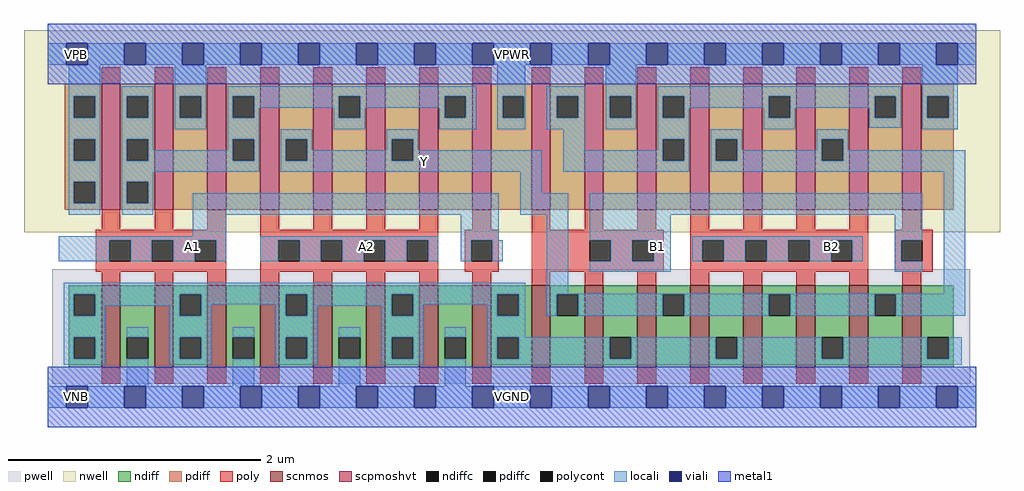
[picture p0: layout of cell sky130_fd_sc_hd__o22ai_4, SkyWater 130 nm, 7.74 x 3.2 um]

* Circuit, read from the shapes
.subckt sky130_fd_sc_hd__o22ai_4 A1 A2 B1 B2 VGND VNB VPB VPWR Y
XM1 VGND A1 n1 VNB sky130_fd_pr__nfet_01v8 w=0.65 l=0.15 m=4
XM2 n1 A2 VGND VNB sky130_fd_pr__nfet_01v8 w=0.65 l=0.15 m=4
XM3 Y B1 n1 VNB sky130_fd_pr__nfet_01v8 w=0.65 l=0.15 m=4
XM4 n1 B2 Y VNB sky130_fd_pr__nfet_01v8 w=0.65 l=0.15 m=4
XM5 n2 A1 VPWR VPB sky130_fd_pr__pfet_01v8_hvt w=1 l=0.15 m=4
XM6 Y A2 n2 VPB sky130_fd_pr__pfet_01v8_hvt w=1 l=0.15 m=4
XM7 n3 B1 VPWR VPB sky130_fd_pr__pfet_01v8_hvt w=1 l=0.15 m=4
XM8 Y B2 n3 VPB sky130_fd_pr__pfet_01v8_hvt w=1 l=0.15 m=4
.ends

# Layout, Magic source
magic
tech sky130A
magscale 1 2
<< nwell >>
rect -38 261 1510 582
<< pwell >>
rect 7 21 1463 203
rect 29 -17 63 21
<< scnmos >>
rect 85 47 115 177
rect 169 47 199 177
rect 253 47 283 177
rect 337 47 367 177
rect 421 47 451 177
rect 505 47 535 177
rect 589 47 619 177
rect 673 47 703 177
rect 767 47 797 177
rect 851 47 881 177
rect 935 47 965 177
rect 1019 47 1049 177
rect 1103 47 1133 177
rect 1187 47 1217 177
rect 1271 47 1301 177
rect 1355 47 1385 177
<< scpmoshvt >>
rect 85 297 115 497
rect 169 297 199 497
rect 253 297 283 497
rect 337 297 367 497
rect 421 297 451 497
rect 505 297 535 497
rect 589 297 619 497
rect 673 297 703 497
rect 767 297 797 497
rect 851 297 881 497
rect 935 297 965 497
rect 1019 297 1049 497
rect 1103 297 1133 497
rect 1187 297 1217 497
rect 1271 297 1301 497
rect 1355 297 1385 497
<< ndiff >>
rect 33 163 85 177
rect 33 129 41 163
rect 75 129 85 163
rect 33 95 85 129
rect 33 61 41 95
rect 75 61 85 95
rect 33 47 85 61
rect 115 95 169 177
rect 115 61 125 95
rect 159 61 169 95
rect 115 47 169 61
rect 199 163 253 177
rect 199 129 209 163
rect 243 129 253 163
rect 199 95 253 129
rect 199 61 209 95
rect 243 61 253 95
rect 199 47 253 61
rect 283 95 337 177
rect 283 61 293 95
rect 327 61 337 95
rect 283 47 337 61
rect 367 163 421 177
rect 367 129 377 163
rect 411 129 421 163
rect 367 95 421 129
rect 367 61 377 95
rect 411 61 421 95
rect 367 47 421 61
rect 451 95 505 177
rect 451 61 461 95
rect 495 61 505 95
rect 451 47 505 61
rect 535 163 589 177
rect 535 129 545 163
rect 579 129 589 163
rect 535 95 589 129
rect 535 61 545 95
rect 579 61 589 95
rect 535 47 589 61
rect 619 95 673 177
rect 619 61 629 95
rect 663 61 673 95
rect 619 47 673 61
rect 703 163 767 177
rect 703 129 713 163
rect 747 129 767 163
rect 703 95 767 129
rect 703 61 713 95
rect 747 61 767 95
rect 703 47 767 61
rect 797 163 851 177
rect 797 129 807 163
rect 841 129 851 163
rect 797 47 851 129
rect 881 95 935 177
rect 881 61 891 95
rect 925 61 935 95
rect 881 47 935 61
rect 965 163 1019 177
rect 965 129 975 163
rect 1009 129 1019 163
rect 965 47 1019 129
rect 1049 95 1103 177
rect 1049 61 1059 95
rect 1093 61 1103 95
rect 1049 47 1103 61
rect 1133 163 1187 177
rect 1133 129 1143 163
rect 1177 129 1187 163
rect 1133 47 1187 129
rect 1217 95 1271 177
rect 1217 61 1227 95
rect 1261 61 1271 95
rect 1217 47 1271 61
rect 1301 163 1355 177
rect 1301 129 1311 163
rect 1345 129 1355 163
rect 1301 47 1355 129
rect 1385 95 1437 177
rect 1385 61 1395 95
rect 1429 61 1437 95
rect 1385 47 1437 61
<< pdiff >>
rect 27 477 85 497
rect 27 443 41 477
rect 75 443 85 477
rect 27 409 85 443
rect 27 375 41 409
rect 75 375 85 409
rect 27 341 85 375
rect 27 307 41 341
rect 75 307 85 341
rect 27 297 85 307
rect 115 477 169 497
rect 115 443 125 477
rect 159 443 169 477
rect 115 409 169 443
rect 115 375 125 409
rect 159 375 169 409
rect 115 341 169 375
rect 115 307 125 341
rect 159 307 169 341
rect 115 297 169 307
rect 199 477 253 497
rect 199 443 209 477
rect 243 443 253 477
rect 199 297 253 443
rect 283 477 337 497
rect 283 443 293 477
rect 327 443 337 477
rect 283 409 337 443
rect 283 375 293 409
rect 327 375 337 409
rect 283 297 337 375
rect 367 409 421 497
rect 367 375 377 409
rect 411 375 421 409
rect 367 297 421 375
rect 451 477 505 497
rect 451 443 461 477
rect 495 443 505 477
rect 451 297 505 443
rect 535 409 589 497
rect 535 375 545 409
rect 579 375 589 409
rect 535 297 589 375
rect 619 477 673 497
rect 619 443 629 477
rect 663 443 673 477
rect 619 297 673 443
rect 703 477 767 497
rect 703 443 721 477
rect 755 443 767 477
rect 703 297 767 443
rect 797 477 851 497
rect 797 443 807 477
rect 841 443 851 477
rect 797 297 851 443
rect 881 477 935 497
rect 881 443 891 477
rect 925 443 935 477
rect 881 297 935 443
rect 965 477 1019 497
rect 965 443 975 477
rect 1009 443 1019 477
rect 965 409 1019 443
rect 965 375 975 409
rect 1009 375 1019 409
rect 965 297 1019 375
rect 1049 409 1103 497
rect 1049 375 1059 409
rect 1093 375 1103 409
rect 1049 297 1103 375
rect 1133 477 1187 497
rect 1133 443 1143 477
rect 1177 443 1187 477
rect 1133 297 1187 443
rect 1217 409 1271 497
rect 1217 375 1227 409
rect 1261 375 1271 409
rect 1217 297 1271 375
rect 1301 477 1355 497
rect 1301 443 1311 477
rect 1345 443 1355 477
rect 1301 297 1355 443
rect 1385 477 1437 497
rect 1385 443 1395 477
rect 1429 443 1437 477
rect 1385 297 1437 443
<< ndiffc >>
rect 41 129 75 163
rect 41 61 75 95
rect 125 61 159 95
rect 209 129 243 163
rect 209 61 243 95
rect 293 61 327 95
rect 377 129 411 163
rect 377 61 411 95
rect 461 61 495 95
rect 545 129 579 163
rect 545 61 579 95
rect 629 61 663 95
rect 713 129 747 163
rect 713 61 747 95
rect 807 129 841 163
rect 891 61 925 95
rect 975 129 1009 163
rect 1059 61 1093 95
rect 1143 129 1177 163
rect 1227 61 1261 95
rect 1311 129 1345 163
rect 1395 61 1429 95
<< pdiffc >>
rect 41 443 75 477
rect 41 375 75 409
rect 41 307 75 341
rect 125 443 159 477
rect 125 375 159 409
rect 125 307 159 341
rect 209 443 243 477
rect 293 443 327 477
rect 293 375 327 409
rect 377 375 411 409
rect 461 443 495 477
rect 545 375 579 409
rect 629 443 663 477
rect 721 443 755 477
rect 807 443 841 477
rect 891 443 925 477
rect 975 443 1009 477
rect 975 375 1009 409
rect 1059 375 1093 409
rect 1143 443 1177 477
rect 1227 375 1261 409
rect 1311 443 1345 477
rect 1395 443 1429 477
<< poly >>
rect 85 497 115 523
rect 169 497 199 523
rect 253 497 283 523
rect 337 497 367 523
rect 421 497 451 523
rect 505 497 535 523
rect 589 497 619 523
rect 673 497 703 523
rect 767 497 797 523
rect 851 497 881 523
rect 935 497 965 523
rect 1019 497 1049 523
rect 1103 497 1133 523
rect 1187 497 1217 523
rect 1271 497 1301 523
rect 1355 497 1385 523
rect 85 265 115 297
rect 169 265 199 297
rect 253 265 283 297
rect 76 249 283 265
rect 76 215 97 249
rect 131 215 165 249
rect 199 215 233 249
rect 267 215 283 249
rect 76 199 283 215
rect 85 177 115 199
rect 169 177 199 199
rect 253 177 283 199
rect 337 265 367 297
rect 421 265 451 297
rect 505 265 535 297
rect 589 265 619 297
rect 673 265 703 297
rect 767 265 797 297
rect 851 265 881 297
rect 935 265 965 297
rect 1019 265 1049 297
rect 1103 265 1133 297
rect 1187 265 1217 297
rect 1271 265 1301 297
rect 1355 265 1385 297
rect 337 249 619 265
rect 337 215 365 249
rect 399 215 433 249
rect 467 215 501 249
rect 535 215 569 249
rect 603 215 619 249
rect 337 199 619 215
rect 661 249 715 265
rect 661 215 671 249
rect 705 215 715 249
rect 661 199 715 215
rect 767 249 977 265
rect 767 215 859 249
rect 893 215 927 249
rect 961 215 977 249
rect 767 199 977 215
rect 1019 249 1301 265
rect 1019 215 1038 249
rect 1072 215 1106 249
rect 1140 215 1174 249
rect 1208 215 1242 249
rect 1276 215 1301 249
rect 1019 199 1301 215
rect 1343 249 1403 265
rect 1343 215 1353 249
rect 1387 215 1403 249
rect 1343 199 1403 215
rect 337 177 367 199
rect 421 177 451 199
rect 505 177 535 199
rect 589 177 619 199
rect 673 177 703 199
rect 767 177 797 199
rect 851 177 881 199
rect 935 177 965 199
rect 1019 177 1049 199
rect 1103 177 1133 199
rect 1187 177 1217 199
rect 1271 177 1301 199
rect 1355 177 1385 199
rect 85 21 115 47
rect 169 21 199 47
rect 253 21 283 47
rect 337 21 367 47
rect 421 21 451 47
rect 505 21 535 47
rect 589 21 619 47
rect 673 21 703 47
rect 767 21 797 47
rect 851 21 881 47
rect 935 21 965 47
rect 1019 21 1049 47
rect 1103 21 1133 47
rect 1187 21 1217 47
rect 1271 21 1301 47
rect 1355 21 1385 47
<< polycont >>
rect 97 215 131 249
rect 165 215 199 249
rect 233 215 267 249
rect 365 215 399 249
rect 433 215 467 249
rect 501 215 535 249
rect 569 215 603 249
rect 671 215 705 249
rect 859 215 893 249
rect 927 215 961 249
rect 1038 215 1072 249
rect 1106 215 1140 249
rect 1174 215 1208 249
rect 1242 215 1276 249
rect 1353 215 1387 249
<< locali >>
rect 0 527 29 561
rect 63 527 121 561
rect 155 527 213 561
rect 247 527 305 561
rect 339 527 397 561
rect 431 527 489 561
rect 523 527 581 561
rect 615 527 673 561
rect 707 527 765 561
rect 799 527 857 561
rect 891 527 949 561
rect 983 527 1041 561
rect 1075 527 1133 561
rect 1167 527 1225 561
rect 1259 527 1317 561
rect 1351 527 1409 561
rect 1443 527 1472 561
rect 33 477 83 527
rect 33 443 41 477
rect 75 443 83 477
rect 33 409 83 443
rect 33 375 41 409
rect 75 375 83 409
rect 33 341 83 375
rect 33 307 41 341
rect 75 307 83 341
rect 33 289 83 307
rect 117 477 167 493
rect 117 443 125 477
rect 159 443 167 477
rect 117 409 167 443
rect 201 477 251 527
rect 201 443 209 477
rect 243 443 251 477
rect 201 425 251 443
rect 285 477 679 493
rect 285 443 293 477
rect 327 459 461 477
rect 327 443 335 459
rect 117 375 125 409
rect 159 391 167 409
rect 285 409 335 443
rect 453 443 461 459
rect 495 459 629 477
rect 495 443 503 459
rect 453 425 503 443
rect 621 443 629 459
rect 663 443 679 477
rect 621 425 679 443
rect 713 477 757 527
rect 713 443 721 477
rect 755 443 757 477
rect 713 425 757 443
rect 791 477 851 493
rect 791 443 807 477
rect 841 443 851 477
rect 791 425 851 443
rect 885 477 933 527
rect 885 443 891 477
rect 925 443 933 477
rect 885 425 933 443
rect 967 477 1353 493
rect 967 443 975 477
rect 1009 459 1143 477
rect 1009 443 1017 459
rect 285 391 293 409
rect 159 375 293 391
rect 327 375 335 409
rect 117 357 335 375
rect 369 409 419 425
rect 369 375 377 409
rect 411 391 419 409
rect 537 409 587 425
rect 537 391 545 409
rect 411 375 545 391
rect 579 391 587 409
rect 817 391 851 425
rect 967 409 1017 443
rect 1135 443 1143 459
rect 1177 459 1311 477
rect 1177 443 1185 459
rect 1135 425 1185 443
rect 1303 443 1311 459
rect 1345 443 1353 477
rect 1303 427 1353 443
rect 1387 477 1443 527
rect 1387 443 1395 477
rect 1429 443 1443 477
rect 1387 425 1443 443
rect 967 391 975 409
rect 579 375 783 391
rect 369 357 783 375
rect 817 375 975 391
rect 1009 375 1017 409
rect 817 357 1017 375
rect 1051 409 1101 425
rect 1051 375 1059 409
rect 1093 391 1101 409
rect 1219 409 1269 425
rect 1219 391 1227 409
rect 1093 375 1227 391
rect 1261 391 1269 409
rect 1261 375 1455 391
rect 1051 357 1455 375
rect 117 341 167 357
rect 117 307 125 341
rect 159 307 167 341
rect 749 323 783 357
rect 117 289 167 307
rect 230 289 715 323
rect 749 289 825 323
rect 230 255 283 289
rect 17 249 283 255
rect 17 215 97 249
rect 131 215 165 249
rect 199 215 233 249
rect 267 215 283 249
rect 337 249 619 255
rect 337 215 365 249
rect 399 215 433 249
rect 467 215 501 249
rect 535 215 569 249
rect 603 215 619 249
rect 655 249 715 289
rect 655 215 671 249
rect 705 215 721 249
rect 25 163 757 181
rect 25 129 41 163
rect 75 145 209 163
rect 75 129 91 145
rect 25 95 91 129
rect 193 129 209 145
rect 243 147 377 163
rect 243 129 259 147
rect 25 61 41 95
rect 75 61 91 95
rect 25 51 91 61
rect 125 95 159 111
rect 125 17 159 61
rect 193 95 259 129
rect 361 129 377 147
rect 411 145 545 163
rect 411 129 427 145
rect 193 61 209 95
rect 243 61 259 95
rect 193 51 259 61
rect 293 95 327 111
rect 293 17 327 61
rect 361 95 427 129
rect 529 129 545 145
rect 579 147 713 163
rect 579 129 595 147
rect 361 61 377 95
rect 411 61 427 95
rect 361 51 427 61
rect 461 95 495 111
rect 461 17 495 61
rect 529 95 595 129
rect 697 129 713 147
rect 747 129 757 163
rect 791 164 825 289
rect 859 289 1387 323
rect 859 249 988 289
rect 893 215 927 249
rect 961 215 988 249
rect 1022 249 1292 255
rect 1022 215 1038 249
rect 1072 215 1106 249
rect 1140 215 1174 249
rect 1208 215 1242 249
rect 1276 215 1292 249
rect 1343 249 1387 289
rect 1343 215 1353 249
rect 859 199 988 215
rect 1343 199 1387 215
rect 1421 164 1455 357
rect 791 163 1455 164
rect 791 129 807 163
rect 841 129 975 163
rect 1009 129 1143 163
rect 1177 129 1311 163
rect 1345 129 1455 163
rect 529 61 545 95
rect 579 61 595 95
rect 529 51 595 61
rect 629 95 663 111
rect 629 17 663 61
rect 697 95 757 129
rect 697 61 713 95
rect 747 61 891 95
rect 925 61 1059 95
rect 1093 61 1227 95
rect 1261 61 1395 95
rect 1429 61 1449 95
rect 697 51 1449 61
rect 0 -17 29 17
rect 63 -17 121 17
rect 155 -17 213 17
rect 247 -17 305 17
rect 339 -17 397 17
rect 431 -17 489 17
rect 523 -17 581 17
rect 615 -17 673 17
rect 707 -17 765 17
rect 799 -17 857 17
rect 891 -17 949 17
rect 983 -17 1041 17
rect 1075 -17 1133 17
rect 1167 -17 1225 17
rect 1259 -17 1317 17
rect 1351 -17 1409 17
rect 1443 -17 1472 17
<< viali >>
rect 29 527 63 561
rect 121 527 155 561
rect 213 527 247 561
rect 305 527 339 561
rect 397 527 431 561
rect 489 527 523 561
rect 581 527 615 561
rect 673 527 707 561
rect 765 527 799 561
rect 857 527 891 561
rect 949 527 983 561
rect 1041 527 1075 561
rect 1133 527 1167 561
rect 1225 527 1259 561
rect 1317 527 1351 561
rect 1409 527 1443 561
rect 29 -17 63 17
rect 121 -17 155 17
rect 213 -17 247 17
rect 305 -17 339 17
rect 397 -17 431 17
rect 489 -17 523 17
rect 581 -17 615 17
rect 673 -17 707 17
rect 765 -17 799 17
rect 857 -17 891 17
rect 949 -17 983 17
rect 1041 -17 1075 17
rect 1133 -17 1167 17
rect 1225 -17 1259 17
rect 1317 -17 1351 17
rect 1409 -17 1443 17
<< metal1 >>
rect 0 561 1472 592
rect 0 527 29 561
rect 63 527 121 561
rect 155 527 213 561
rect 247 527 305 561
rect 339 527 397 561
rect 431 527 489 561
rect 523 527 581 561
rect 615 527 673 561
rect 707 527 765 561
rect 799 527 857 561
rect 891 527 949 561
rect 983 527 1041 561
rect 1075 527 1133 561
rect 1167 527 1225 561
rect 1259 527 1317 561
rect 1351 527 1409 561
rect 1443 527 1472 561
rect 0 496 1472 527
rect 0 17 1472 48
rect 0 -17 29 17
rect 63 -17 121 17
rect 155 -17 213 17
rect 247 -17 305 17
rect 339 -17 397 17
rect 431 -17 489 17
rect 523 -17 581 17
rect 615 -17 673 17
rect 707 -17 765 17
rect 799 -17 857 17
rect 891 -17 949 17
rect 983 -17 1041 17
rect 1075 -17 1133 17
rect 1167 -17 1225 17
rect 1259 -17 1317 17
rect 1351 -17 1409 17
rect 1443 -17 1472 17
rect 0 -48 1472 -17
<< labels >>
flabel locali s 213 221 247 255 0 FreeSans 400 0 0 0 A1
port 1 nsew signal input
flabel locali s 581 357 615 391 0 FreeSans 400 0 0 0 Y
port 9 nsew signal output
flabel locali s 489 221 523 255 0 FreeSans 400 0 0 0 A2
port 2 nsew signal input
flabel locali s 949 221 983 255 0 FreeSans 400 180 0 0 B1
port 3 nsew signal input
flabel locali s 1225 221 1259 255 0 FreeSans 400 180 0 0 B2
port 4 nsew signal input
flabel pwell s 29 -17 63 17 0 FreeSans 200 0 0 0 VNB
port 6 nsew ground bidirectional
flabel nwell s 29 527 63 561 0 FreeSans 200 0 0 0 VPB
port 7 nsew power bidirectional
flabel metal1 s 29 -17 63 17 0 FreeSans 200 0 0 0 VGND
port 5 nsew ground bidirectional abutment
flabel metal1 s 29 527 63 561 0 FreeSans 200 0 0 0 VPWR
port 8 nsew power bidirectional abutment
rlabel comment s 0 0 0 0 4 o22ai_4
rlabel metal1 s 0 -48 1472 48 1 VGND
port 5 nsew ground bidirectional abutment
rlabel metal1 s 0 496 1472 592 1 VPWR
port 8 nsew power bidirectional abutment
<< properties >>
string FIXED_BBOX 0 0 1472 544
string GDS_END 1393916
string GDS_FILE $PDKPATH/libs.ref/sky130_fd_sc_hd/gds/sky130_fd_sc_hd.gds
string GDS_START 1383312
string LEFclass CORE
string LEFsite unithd
string LEFsymmetry X Y R90
string path 0.000 0.000 7.360 0.000 
<< end >>
